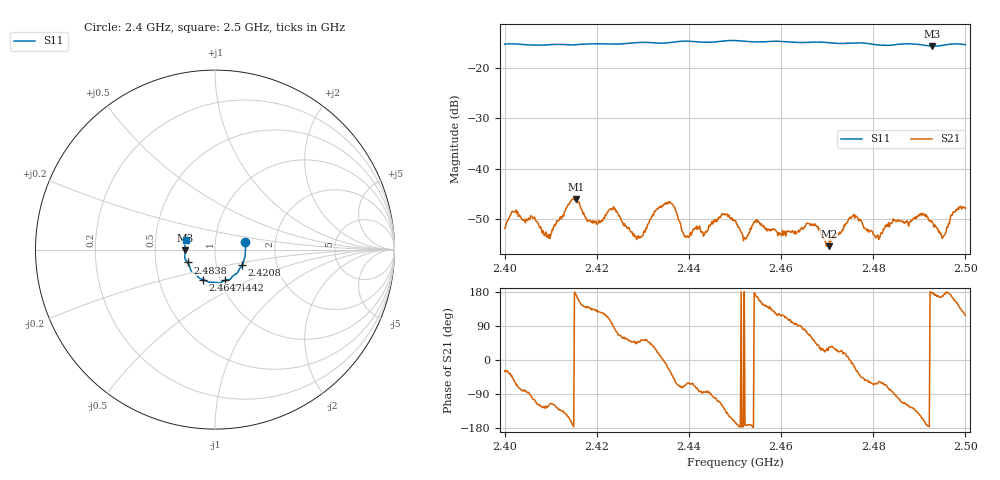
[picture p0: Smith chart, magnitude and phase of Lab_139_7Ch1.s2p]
# Hz S RI R 50
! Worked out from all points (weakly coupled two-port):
!   601 points, 2.4 GHz to 2.5 GHz, reference 50 ohm
!   highest |S21| = -46.05 dB at 2.4155 GHz (marker M1); lowest = -55.4 dB at 2.4703 GHz (marker M2)
!   lowest |S11| = -15.6 dB at 2.4928 GHz (marker M3), VSWR 1.40, Z = 35.8 - j0.36 ohm
!   |S11| at or under -10 dB: start of sweep to end of sweep
!   S12 and S22 are empty: the file has one direction only
!   S11 on the Smith chart (normalised r, x): 2.4 GHz: 1.40, +0.12; 2.4208 GHz: 1.33, -0.24; 2.4442 GHz: 1.05, -0.37; 2.4647 GHz: 0.83, -0.29; 2.4838 GHz: 0.73, -0.11; 2.5 GHz: 0.72, +0.08
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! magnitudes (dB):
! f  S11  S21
! 2.4 GHz  -15.3  -51.9
! 2.4023 GHz  -15.2  -48.6
! 2.4097 GHz  -15.3  -53.0
! 2.4155 GHz  -15.3  -46.0
! 2.4167 GHz  -15.3  -48.0
! 2.4208 GHz  -15.2  -50.6
! 2.4235 GHz  -15.2  -47.9
! 2.4292 GHz  -14.9  -53.8
! 2.4333 GHz  -15.0  -48.0
! 2.4363 GHz  -14.9  -47.1
! 2.4395 GHz  -14.6  -53.6
! 2.4442 GHz  -14.9  -52.2
! 2.45 GHz  -14.5  -50.4
! 2.4647 GHz  -14.9  -52.1
! 2.4667 GHz  -14.8  -51.0
! 2.4703 GHz  -14.9  -55.4
! 2.4753 GHz  -15.0  -49.7
! 2.4833 GHz  -15.5  -50.8
! 2.4838 GHz  -15.4  -50.9
! 2.4928 GHz  -15.6  -50.7
! 2.4953 GHz  -15.4  -53.4
! 2.5 GHz  -15.3  -47.9
